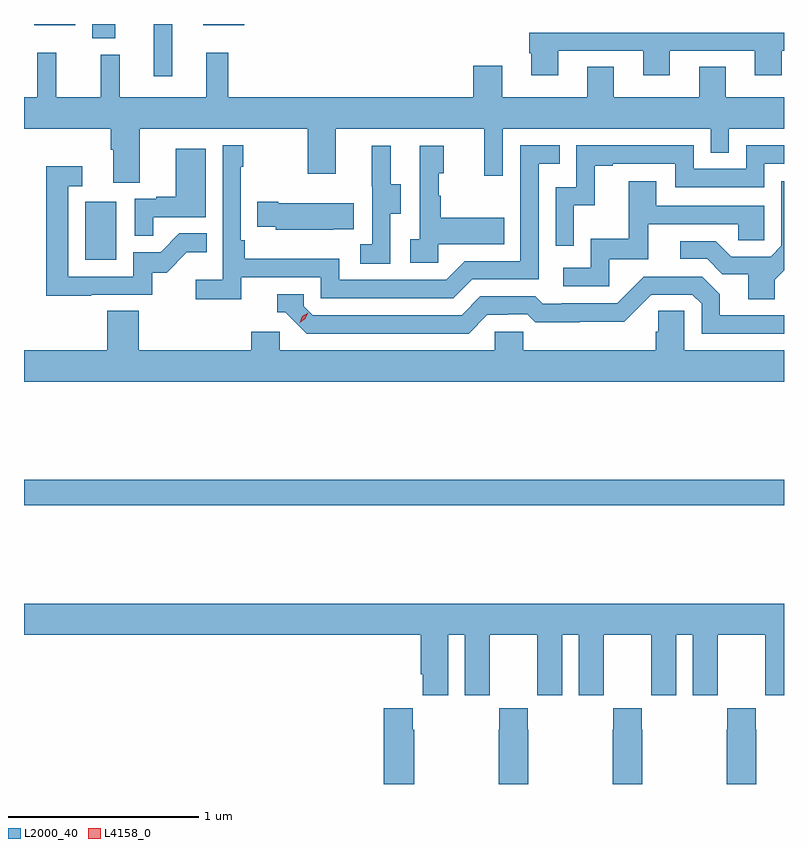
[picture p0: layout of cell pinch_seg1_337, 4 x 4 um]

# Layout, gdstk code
import gdstk
lib = gdstk.Library(unit=1e-6, precision=1e-09)
def R(c, l, rs):  # rectangles x0, y0, x1, y1
    for r in rs: c.add(gdstk.rectangle(r[:2], r[2:], *l))
def P(c, l, *ps):  # polygons
    for p in ps: c.add(gdstk.Polygon(p, *l))
L2000_40 = (2000, 40)
L4158_0 = (4158, 0)

pinch_seg1_337 = lib.new_cell('pinch_seg1_337')
R(pinch_seg1_337, L2000_40, [(969.304,553.744,973.304,553.88), (969.626,555.036,969.79,555.343), (969.987,556.002,970.084,556.278), (969.662,556.202,969.784,556.278), (969.359,556.271,969.574,556.278), (970.247,556.271,970.462,556.278)])
P(pinch_seg1_337, L2000_40, [(972.115,556.137),(972.563,556.137),(972.563,556.008),(972.703,556.008),(972.703,556.137),(973.151,556.137),(973.151,556.008),(973.291,556.008),(973.291,556.137),(973.304,556.137),(973.304,556.233),(971.963,556.233),(971.963,556.125),(971.975,556.125),(971.975,556.008),(972.115,556.008)],
  [(969.913,555.728),(970.798,555.728),(970.798,555.489),(970.945,555.489),(970.945,555.728),(971.726,555.728),(971.726,555.48),(971.823,555.48),(971.823,555.728),(972.918,555.728),(972.918,555.601),(973.014,555.601),(973.014,555.728),(973.304,555.728),(973.304,555.892),(972.997,555.892),(972.997,556.052),(972.857,556.052),(972.857,555.892),(972.409,555.892),(972.409,556.052),(972.269,556.052),(972.269,555.892),(971.821,555.892),(971.821,556.057),(971.669,556.057),(971.669,555.892),(970.379,555.892),(970.379,556.126),(970.262,556.126),(970.262,555.892),(969.809,555.892),(969.809,556.117),(969.709,556.117),(969.709,555.892),(969.474,555.892),(969.474,556.126),(969.374,556.126),(969.374,555.892),(969.304,555.892),(969.304,555.728),(969.761,555.728),(969.761,555.616),(969.773,555.616),(969.773,555.442),(969.913,555.442)],
  [(970.448,554.946),(970.866,554.946),(970.866,554.835),(971.563,554.835),(971.662,554.934),(972.012,554.934),(972.012,555.543),(972.125,555.543),(972.125,555.639),(971.916,555.639),(971.916,555.03),(971.625,555.03),(971.526,554.931),(970.962,554.931),(970.962,555.043),(970.466,555.043),(970.466,555.139),(970.446,555.139),(970.446,555.527),(970.459,555.527),(970.459,555.64),(970.35,555.64),(970.35,554.932),(970.209,554.932),(970.209,554.83),(970.448,554.83)],
  [(972.198,555.323),(972.308,555.323),(972.308,555.531),(972.403,555.531),(972.403,555.543),(972.732,555.543),(972.732,555.42),(973.2,555.42),(973.2,555.543),(973.304,555.543),(973.304,555.639),(973.104,555.639),(973.104,555.516),(972.828,555.516),(972.828,555.639),(972.21,555.639),(972.21,555.42),(972.102,555.42),(972.102,555.111),(972.198,555.111)],
  [(971.484,555.119),(971.831,555.119),(971.831,555.259),(971.497,555.259),(971.497,555.374),(971.487,555.374),(971.487,555.492),(971.512,555.492),(971.512,555.637),(971.388,555.637),(971.388,555.146),(971.337,555.146),(971.337,555.021),(971.484,555.021)],
  [(971.232,555.28),(971.287,555.28),(971.287,555.435),(971.233,555.435),(971.233,555.637),(971.135,555.637),(971.135,555.423),(971.136,555.423),(971.136,555.119),(971.073,555.119),(971.073,555.016),(971.232,555.016)],
  [(969.983,555.261),(970.261,555.261),(970.261,555.622),(970.103,555.622),(970.103,555.37),(969.999,555.37),(969.999,555.357),(969.888,555.357),(969.888,555.163),(969.983,555.163)],
  [(969.659,554.853),(969.978,554.853),(969.978,554.97),(970.054,554.97),(970.161,555.077),(970.265,555.077),(970.265,555.176),(970.121,555.176),(970.023,555.078),(969.879,555.078),(969.879,554.949),(969.537,554.949),(969.537,555.423),(969.61,555.423),(969.61,555.529),(969.421,555.529),(969.421,554.848),(969.659,554.848)],
  [(972.384,555.039),(972.589,555.039),(972.589,555.225),(973.063,555.225),(973.063,555.141),(973.2,555.141),(973.2,555.321),(972.631,555.321),(972.631,555.451),(972.487,555.451),(972.487,555.148),(972.288,555.148),(972.288,554.994),(972.141,554.994),(972.141,554.898),(972.384,554.898)],
  [(973.255,554.932),(973.304,554.981),(973.304,555.451),(973.29,555.451),(973.29,555.111),(973.233,555.054),(973.027,555.054),(972.946,555.135),(972.759,555.135),(972.759,555.042),(972.9,555.042),(972.98,554.962),(973.115,554.962),(973.115,554.83),(973.255,554.83)],
  [(970.931,555.197),(971.039,555.197),(971.039,555.334),(970.642,555.334),(970.642,555.342),(970.531,555.342),(970.531,555.212),(970.629,555.212),(970.629,555.194),(970.931,555.194)],
  [(971.743,554.748),(971.85,554.748),(971.85,554.751),(971.953,554.751),(971.995,554.709),(972.228,554.709),(972.228,554.711),(972.464,554.711),(972.606,554.853),(972.822,554.853),(972.87,554.805),(972.87,554.649),(973.304,554.649),(973.304,554.745),(972.967,554.745),(972.967,554.855),(972.873,554.949),(972.567,554.949),(972.426,554.808),(972.133,554.808),(972.133,554.805),(972.034,554.805),(971.995,554.844),(971.706,554.844),(971.607,554.745),(970.824,554.745),(970.776,554.793),(970.776,554.856),(970.637,554.856),(970.637,554.76),(970.68,554.76),(970.791,554.649),(971.644,554.649)],
  [(973.304,554.56),(972.78,554.56),(972.78,554.768),(972.643,554.768),(972.643,554.658),(972.629,554.658),(972.629,554.56),(971.931,554.56),(971.931,554.658),(971.781,554.658),(971.781,554.56),(970.65,554.56),(970.65,554.658),(970.499,554.658),(970.499,554.56),(969.908,554.56),(969.908,554.768),(969.743,554.768),(969.743,554.56),(969.304,554.56),(969.304,554.396),(973.304,554.396)],
  [(971.536,553.064),(971.624,553.064),(971.624,552.744),(971.754,552.744),(971.754,552.856),(971.755,552.856),(971.755,553.064),(972.005,553.064),(972.005,552.856),(972.006,552.856),(972.006,552.744),(972.136,552.744),(972.136,553.064),(972.224,553.064),(972.224,552.744),(972.354,552.744),(972.354,552.856),(972.355,552.856),(972.355,553.064),(972.605,553.064),(972.605,552.856),(972.606,552.856),(972.606,552.744),(972.736,552.744),(972.736,553.064),(972.824,553.064),(972.824,552.744),(972.954,552.744),(972.954,552.856),(972.955,552.856),(972.955,553.064),(973.205,553.064),(973.205,552.856),(973.206,552.856),(973.206,552.744),(973.304,552.744),(973.304,553.228),(969.304,553.228),(969.304,553.064),(971.393,553.064),(971.393,552.856),(971.402,552.856),(971.402,552.744),(971.536,552.744)],
  [(971.358,552.563),(971.351,552.563),(971.351,552.676),(971.198,552.676),(971.198,552.278),(971.358,552.278)],
  [(971.958,552.563),(971.955,552.563),(971.955,552.676),(971.805,552.676),(971.805,552.563),(971.803,552.563),(971.803,552.278),(971.958,552.278)],
  [(972.558,552.563),(972.555,552.563),(972.555,552.676),(972.405,552.676),(972.405,552.563),(972.403,552.563),(972.403,552.278),(972.558,552.278)],
  [(973.158,552.563),(973.155,552.563),(973.155,552.676),(973.005,552.676),(973.005,552.563),(973.003,552.563),(973.003,552.278),(973.158,552.278)])
P(pinch_seg1_337, L4158_0, [(970.754,554.706),(970.754,554.706),(970.769,554.739),(970.8,554.759),(970.8,554.759),(970.8,554.759),(970.784,554.726),(970.754,554.706)])

lib.write_gds('pinch_seg1_337.gds')
